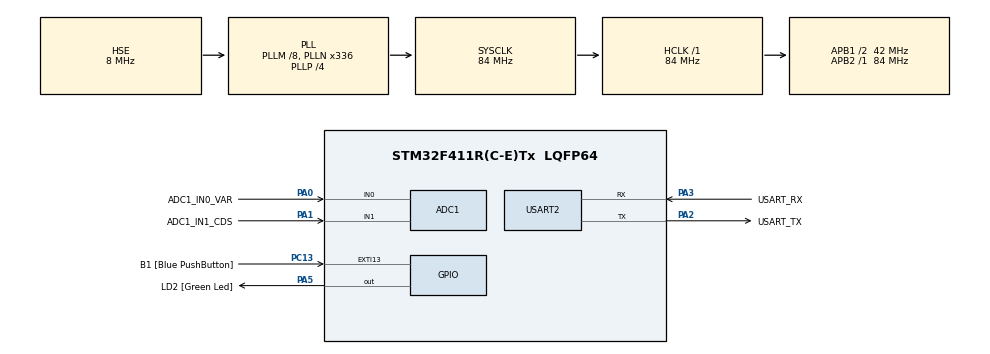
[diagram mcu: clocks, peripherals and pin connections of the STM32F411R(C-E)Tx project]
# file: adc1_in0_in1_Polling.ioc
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ADC1.Channel-0\#ChannelRegularConversion=ADC_CHANNEL_0
ADC1.Channel-1\#ChannelRegularConversion=ADC_CHANNEL_1
ADC1.ClockPrescaler=ADC_CLOCK_SYNC_PCLK_DIV6
ADC1.NbrOfConversion=2
ADC1.NbrOfConversionFlag=1
ADC1.Rank-0\#ChannelRegularConversion=1
ADC1.Rank-1\#ChannelRegularConversion=2
ADC1.SamplingTime-0\#ChannelRegularConversion=ADC_SAMPLETIME_15CYCLES
ADC1.SamplingTime-1\#ChannelRegularConversion=ADC_SAMPLETIME_15CYCLES
ADC1.ScanConvMode=ENABLE
ADC1.master=1
Mcu.Family=STM32F4
Mcu.Name=STM32F411R(C-E)Tx
Mcu.Package=LQFP64
NVIC.PriorityGroup=NVIC_PRIORITYGROUP_0
PA0-WKUP.GPIO_Label=ADC1_IN0_VAR
PA0-WKUP.Signal=ADCx_IN0
PA1.GPIO_Label=ADC1_IN1_CDS
PA1.Signal=ADCx_IN1
PA13.GPIO_Label=TMS
PA13.Mode=Serial_Wire
PA13.Signal=SYS_JTMS-SWDIO
PA14.GPIO_Label=TCK
PA14.Mode=Serial_Wire
PA14.Signal=SYS_JTCK-SWCLK
PA2.GPIO_Label=USART_TX
PA2.Mode=Asynchronous
PA2.Signal=USART2_TX
PA3.GPIO_Label=USART_RX
PA3.Mode=Asynchronous
PA3.Signal=USART2_RX
PA5.GPIO_Label=LD2 [Green Led]
PA5.Signal=GPIO_Output
PB3.GPIO_Label=SWO
PB3.Signal=SYS_JTDO-SWO
PC13-ANTI_TAMP.GPIO_Label=B1 [Blue PushButton]
PC13-ANTI_TAMP.GPIO_ModeDefaultEXTI=GPIO_MODE_IT_FALLING
PC13-ANTI_TAMP.Signal=GPXTI13
PC14-OSC32_IN.Mode=LSE-External-Oscillator
PC14-OSC32_IN.Signal=RCC_OSC32_IN
PC15-OSC32_OUT.Mode=LSE-External-Oscillator
PC15-OSC32_OUT.Signal=RCC_OSC32_OUT
PH0\ -\ OSC_IN.Mode=HSE-External-Oscillator
PH0\ -\ OSC_IN.Signal=RCC_OSC_IN
PH1\ -\ OSC_OUT.Mode=HSE-External-Oscillator
PH1\ -\ OSC_OUT.Signal=RCC_OSC_OUT
ProjectManager.HeapSize=0x200
ProjectManager.StackSize=0x400
ProjectManager.TargetToolchain=STM32CubeIDE
RCC.48MHZClocksFreq_Value=84000000
RCC.AHBFreq_Value=84000000
RCC.APB1CLKDivider=RCC_HCLK_DIV2
RCC.APB1Freq_Value=42000000
RCC.APB1TimFreq_Value=84000000
RCC.APB2Freq_Value=84000000
RCC.APB2TimFreq_Value=84000000
RCC.CortexFreq_Value=84000000
RCC.FLatency-AdvancedSettings=FLASH_LATENCY_2
RCC.HCLKFreq_Value=84000000
RCC.HSE_VALUE=8000000
RCC.HSI_VALUE=16000000
RCC.PLLM=8
RCC.PLLN=336
RCC.PLLP=RCC_PLLP_DIV4
RCC.PLLSourceVirtual=RCC_PLLSOURCE_HSE
RCC.SYSCLKFreq_VALUE=84000000
RCC.SYSCLKSource=RCC_SYSCLKSOURCE_PLLCLK
RCC.VCOOutputFreq_Value=336000000
SH.ADCx_IN0.0=ADC1_IN0,IN0
SH.ADCx_IN1.0=ADC1_IN1,IN1
USART2.VirtualMode=VM_ASYNC
board=NUCLEO-F411RE

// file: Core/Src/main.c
/* USER CODE BEGIN Header */
/**
  ******************************************************************************
  * @file           : main.c
  * @brief          : Main program body
  ******************************************************************************
  * @attention
  *
  * Copyright (c) 2024 STMicroelectronics.
  * All rights reserved.
  *
  * This software is licensed under terms that can be found in the LICENSE file
  * in the root directory of this software component.
  * If no LICENSE file comes with this software, it is provided AS-IS.
  *
  ******************************************************************************
  */
/* USER CODE END Header */
#include "main.h"

/* USER CODE BEGIN Includes */
#include <stdio.h>
/* USER CODE END Includes */

/* USER CODE BEGIN PD */
#ifdef __GNUC__
/* With GCC, small printf (option LD Linker->Libraries->Small printf
   set to 'Yes') calls __io_putchar() */
#define PUTCHAR_PROTOTYPE int __io_putchar(int ch)
#else
#define PUTCHAR_PROTOTYPE int fputc(int ch, FILE *f)
#endif /* __GNUC__ */
/* USER CODE END PD */

ADC_HandleTypeDef hadc1;

UART_HandleTypeDef huart2;

void SystemClock_Config(void);
static void MX_GPIO_Init(void);
static void MX_USART2_UART_Init(void);
static void MX_ADC1_Init(void);

int main(void)
{

  /* USER CODE BEGIN 1 */
	uint16_t ADCxConvertValue[2]={0};
  /* USER CODE END 1 */

  /* MCU Configuration--------------------------------------------------------*/

  /* Reset of all peripherals, Initializes the Flash interface and the Systick. */
  HAL_Init();

  /* Configure the system clock */
  SystemClock_Config();

  /* Initialize all configured peripherals */
  MX_GPIO_Init();
  MX_USART2_UART_Init();
  MX_ADC1_Init();
  /* USER CODE BEGIN 2 */
  printf("start main() - adc polling");
  /* USER CODE END 2 */

  /* Infinite loop */
  /* USER CODE BEGIN WHILE */
  while (1)
  {
	  if(HAL_ADC_Start(&hadc1) != HAL_OK)
	  {
		  Error_Handler();
	  }
	  for(int i =0; i<2; i++)
	  {
		  HAL_ADC_PollForConversion(&hadc1, 100);
		  if((HAL_ADC_GetState(&hadc1) & HAL_ADC_STATE_REG_EOC) == HAL_ADC_STATE_REG_EOC)
		  {
			  ADCxConvertValue[i] = HAL_ADC_GetValue(&hadc1);
		  }
	  }
	  HAL_ADC_Stop(&hadc1);
	  printf("VAR=%4d, CDS=%4d\r\n", ADCxConvertValue[0],ADCxConvertValue[1]);
	  HAL_Delay(500);
    /* USER CODE END WHILE */

  }
}

void SystemClock_Config(void)
{
  RCC_OscInitTypeDef RCC_OscInitStruct = {0};
  RCC_ClkInitTypeDef RCC_ClkInitStruct = {0};

  /** Configure the main internal regulator output voltage
  */
  __HAL_RCC_PWR_CLK_ENABLE();
  __HAL_PWR_VOLTAGESCALING_CONFIG(PWR_REGULATOR_VOLTAGE_SCALE1);

  /** Initializes the RCC Oscillators according to the specified parameters
  * in the RCC_OscInitTypeDef structure.
  */
  RCC_OscInitStruct.OscillatorType = RCC_OSCILLATORTYPE_HSE;
  RCC_OscInitStruct.HSEState = RCC_HSE_ON;
  RCC_OscInitStruct.PLL.PLLState = RCC_PLL_ON;
  RCC_OscInitStruct.PLL.PLLSource = RCC_PLLSOURCE_HSE;
  RCC_OscInitStruct.PLL.PLLM = 8;
  RCC_OscInitStruct.PLL.PLLN = 336;
  RCC_OscInitStruct.PLL.PLLP = RCC_PLLP_DIV4;
  RCC_OscInitStruct.PLL.PLLQ = 4;
  if (HAL_RCC_OscConfig(&RCC_OscInitStruct) != HAL_OK)
  {
    Error_Handler();
  }

  /** Initializes the CPU, AHB and APB buses clocks
  */
  RCC_ClkInitStruct.ClockType = RCC_CLOCKTYPE_HCLK|RCC_CLOCKTYPE_SYSCLK
                              |RCC_CLOCKTYPE_PCLK1|RCC_CLOCKTYPE_PCLK2;
  RCC_ClkInitStruct.SYSCLKSource = RCC_SYSCLKSOURCE_PLLCLK;
  RCC_ClkInitStruct.AHBCLKDivider = RCC_SYSCLK_DIV1;
  RCC_ClkInitStruct.APB1CLKDivider = RCC_HCLK_DIV2;
  RCC_ClkInitStruct.APB2CLKDivider = RCC_HCLK_DIV1;

  if (HAL_RCC_ClockConfig(&RCC_ClkInitStruct, FLASH_LATENCY_2) != HAL_OK)
  {
    Error_Handler();
  }
}

static void MX_ADC1_Init(void)
{

  ADC_ChannelConfTypeDef sConfig = {0};

  /** Configure the global features of the ADC (Clock, Resolution, Data Alignment and number of conversion)
  */
  hadc1.Instance = ADC1;
  hadc1.Init.ClockPrescaler = ADC_CLOCK_SYNC_PCLK_DIV6;
  hadc1.Init.Resolution = ADC_RESOLUTION_12B;
  hadc1.Init.ScanConvMode = ENABLE;
  hadc1.Init.ContinuousConvMode = DISABLE;
  hadc1.Init.DiscontinuousConvMode = DISABLE;
  hadc1.Init.ExternalTrigConvEdge = ADC_EXTERNALTRIGCONVEDGE_NONE;
  hadc1.Init.ExternalTrigConv = ADC_SOFTWARE_START;
  hadc1.Init.DataAlign = ADC_DATAALIGN_RIGHT;
  hadc1.Init.NbrOfConversion = 2;
  hadc1.Init.DMAContinuousRequests = DISABLE;
  hadc1.Init.EOCSelection = ADC_EOC_SINGLE_CONV;
  if (HAL_ADC_Init(&hadc1) != HAL_OK)
  {
    Error_Handler();
  }

  /** Configure for the selected ADC regular channel its corresponding rank in the sequencer and its sample time.
  */
  sConfig.Channel = ADC_CHANNEL_0;
  sConfig.Rank = 1;
  sConfig.SamplingTime = ADC_SAMPLETIME_15CYCLES;
  if (HAL_ADC_ConfigChannel(&hadc1, &sConfig) != HAL_OK)
  {
    Error_Handler();
  }

  /** Configure for the selected ADC regular channel its corresponding rank in the sequencer and its sample time.
  */
  sConfig.Channel = ADC_CHANNEL_1;
  sConfig.Rank = 2;
  if (HAL_ADC_ConfigChannel(&hadc1, &sConfig) != HAL_OK)
  {
    Error_Handler();
  }

}

static void MX_USART2_UART_Init(void)
{

  huart2.Instance = USART2;
  huart2.Init.BaudRate = 115200;
  huart2.Init.WordLength = UART_WORDLENGTH_8B;
  huart2.Init.StopBits = UART_STOPBITS_1;
  huart2.Init.Parity = UART_PARITY_NONE;
  huart2.Init.Mode = UART_MODE_TX_RX;
  huart2.Init.HwFlowCtl = UART_HWCONTROL_NONE;
  huart2.Init.OverSampling = UART_OVERSAMPLING_16;
  if (HAL_UART_Init(&huart2) != HAL_OK)
  {
    Error_Handler();
  }

}

static void MX_GPIO_Init(void)
{
  GPIO_InitTypeDef GPIO_InitStruct = {0};

  /* GPIO Ports Clock Enable */
  __HAL_RCC_GPIOC_CLK_ENABLE();
  __HAL_RCC_GPIOH_CLK_ENABLE();
  __HAL_RCC_GPIOA_CLK_ENABLE();
  __HAL_RCC_GPIOB_CLK_ENABLE();

  /*Configure GPIO pin Output Level */
  HAL_GPIO_WritePin(LD2_GPIO_Port, LD2_Pin, GPIO_PIN_RESET);

  /*Configure GPIO pin : B1_Pin */
  GPIO_InitStruct.Pin = B1_Pin;
  GPIO_InitStruct.Mode = GPIO_MODE_IT_FALLING;
  GPIO_InitStruct.Pull = GPIO_NOPULL;
  HAL_GPIO_Init(B1_GPIO_Port, &GPIO_InitStruct);

  /*Configure GPIO pin : LD2_Pin */
  GPIO_InitStruct.Pin = LD2_Pin;
  GPIO_InitStruct.Mode = GPIO_MODE_OUTPUT_PP;
  GPIO_InitStruct.Pull = GPIO_NOPULL;
  GPIO_InitStruct.Speed = GPIO_SPEED_FREQ_LOW;
  HAL_GPIO_Init(LD2_GPIO_Port, &GPIO_InitStruct);

}

/* USER CODE BEGIN 4 */
PUTCHAR_PROTOTYPE
{
  /* Place your implementation of fputc here */
  /* e.g. write a character to the USART6 and Loop until the end of transmission */
  HAL_UART_Transmit(&huart2, (uint8_t *)&ch, 1, 0xFFFF);

  return ch;
}
/* USER CODE END 4 */

void Error_Handler(void)
{
  __disable_irq();
  while (1)
  {
  }
}
